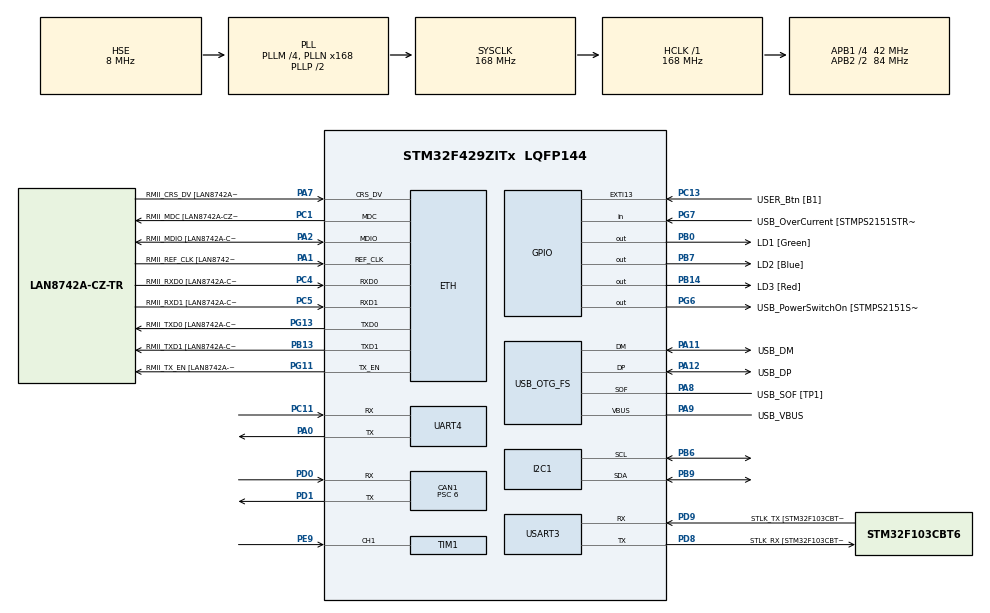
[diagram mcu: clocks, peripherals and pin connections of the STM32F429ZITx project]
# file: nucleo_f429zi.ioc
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CAN1.ABOM=ENABLE
CAN1.BS1=CAN_BS1_11TQ
CAN1.BS2=CAN_BS2_2TQ
CAN1.CalculateBaudRate=500000
CAN1.CalculateTimeBit=2000
CAN1.CalculateTimeQuantum=142.85714285714286
CAN1.NART=ENABLE
CAN1.Prescaler=6
CAN1.TXFP=ENABLE
Dma.I2C1_RX.0.Direction=DMA_PERIPH_TO_MEMORY
Dma.I2C1_RX.0.FIFOMode=DMA_FIFOMODE_DISABLE
Dma.I2C1_RX.0.Instance=DMA1_Stream0
Dma.I2C1_RX.0.MemDataAlignment=DMA_MDATAALIGN_BYTE
Dma.I2C1_RX.0.MemInc=DMA_MINC_ENABLE
Dma.I2C1_RX.0.Mode=DMA_CIRCULAR
Dma.I2C1_RX.0.PeriphDataAlignment=DMA_PDATAALIGN_BYTE
Dma.I2C1_RX.0.PeriphInc=DMA_PINC_DISABLE
Dma.I2C1_RX.0.Priority=DMA_PRIORITY_LOW
Dma.Request0=I2C1_RX
Dma.Request1=TIM1_CH2
Dma.TIM1_CH2.1.Direction=DMA_PERIPH_TO_MEMORY
Dma.TIM1_CH2.1.FIFOMode=DMA_FIFOMODE_DISABLE
Dma.TIM1_CH2.1.Instance=DMA2_Stream2
Dma.TIM1_CH2.1.MemDataAlignment=DMA_MDATAALIGN_HALFWORD
Dma.TIM1_CH2.1.MemInc=DMA_MINC_ENABLE
Dma.TIM1_CH2.1.Mode=DMA_CIRCULAR
Dma.TIM1_CH2.1.PeriphDataAlignment=DMA_PDATAALIGN_HALFWORD
Dma.TIM1_CH2.1.PeriphInc=DMA_PINC_DISABLE
Dma.TIM1_CH2.1.Priority=DMA_PRIORITY_LOW
ETH.MediaInterface=HAL_ETH_RMII_MODE
ETH.PHY_Name=LAN8742A_PHY_ADDRESS
ETH.PHY_Value=0
ETH.PhyAddress=0
I2C1.I2C_Mode=I2C_Fast
Mcu.Family=STM32F4
Mcu.Name=STM32F429ZITx
Mcu.Package=LQFP144
NVIC.CAN1_RX0_IRQn=true\:0\:0\:false\:false\:true\:true\:true\:true
NVIC.CAN1_SCE_IRQn=true\:0\:0\:false\:false\:true\:true\:true\:true
NVIC.DMA1_Stream0_IRQn=true\:0\:0\:false\:false\:true\:false\:true\:true
NVIC.DMA2_Stream2_IRQn=true\:0\:0\:false\:false\:true\:false\:true\:true
NVIC.I2C1_ER_IRQn=true\:0\:0\:false\:false\:true\:true\:true\:true
NVIC.I2C1_EV_IRQn=true\:0\:0\:false\:false\:true\:true\:true\:true
NVIC.PriorityGroup=NVIC_PRIORITYGROUP_4
NVIC.TIM1_CC_IRQn=true\:0\:0\:false\:false\:true\:true\:true\:true
NVIC.TIM1_TRG_COM_TIM11_IRQn=true\:0\:0\:false\:false\:true\:true\:true\:true
NVIC.TIM8_TRG_COM_TIM14_IRQn=true\:15\:0\:false\:false\:true\:false\:true\:true
NVIC.TimeBase=TIM8_TRG_COM_TIM14_IRQn
NVIC.TimeBaseIP=TIM14
PA0/WKUP.Mode=Asynchronous
PA0/WKUP.Signal=UART4_TX
PA1.GPIO_Label=RMII_REF_CLK [LAN8742A-CZ-TR_REFCLK0]
PA1.Mode=RMII
PA1.Signal=ETH_REF_CLK
PA10.GPIO_Label=USB_ID
PA10.Signal=USB_OTG_FS_ID
PA11.GPIO_Label=USB_DM
PA11.Mode=Device_Only
PA11.Signal=USB_OTG_FS_DM
PA12.GPIO_Label=USB_DP
PA12.Mode=Device_Only
PA12.Signal=USB_OTG_FS_DP
PA13.GPIO_Label=TMS
PA13.Mode=Serial_Wire
PA13.Signal=SYS_JTMS-SWDIO
PA14.GPIO_Label=TCK
PA14.Mode=Serial_Wire
PA14.Signal=SYS_JTCK-SWCLK
PA2.GPIO_Label=RMII_MDIO [LAN8742A-CZ-TR_MDIO]
PA2.Mode=RMII
PA2.Signal=ETH_MDIO
PA7.GPIO_Label=RMII_CRS_DV [LAN8742A-CZ-TR_CRS_DV]
PA7.Mode=RMII
PA7.Signal=ETH_CRS_DV
PA8.GPIO_Label=USB_SOF [TP1]
PA8.Mode=Activate_SOF_FS
PA8.Signal=USB_OTG_FS_SOF
PA9.GPIO_Label=USB_VBUS
PA9.Mode=Activate_VBUS
PA9.Signal=USB_OTG_FS_VBUS
PB0.GPIO_Label=LD1 [Green]
PB0.Signal=GPIO_Output
PB13.GPIO_Label=RMII_TXD1 [LAN8742A-CZ-TR_TXD1]
PB13.Mode=RMII
PB13.Signal=ETH_TXD1
PB14.GPIO_Label=LD3 [Red]
PB14.Signal=GPIO_Output
PB6.Mode=I2C
PB6.Signal=I2C1_SCL
PB7.GPIO_Label=LD2 [Blue]
PB7.Signal=GPIO_Output
PB9.Mode=I2C
PB9.Signal=I2C1_SDA
PC1.GPIO_Label=RMII_MDC [LAN8742A-CZ-TR_MDC]
PC1.Mode=RMII
PC1.Signal=ETH_MDC
PC11.Mode=Asynchronous
PC11.Signal=UART4_RX
PC13.GPIO_Label=USER_Btn [B1]
PC13.Signal=GPXTI13
PC14/OSC32_IN.Mode=LSE-External-Oscillator
PC14/OSC32_IN.Signal=RCC_OSC32_IN
PC15/OSC32_OUT.Mode=LSE-External-Oscillator
PC15/OSC32_OUT.Signal=RCC_OSC32_OUT
PC4.GPIO_Label=RMII_RXD0 [LAN8742A-CZ-TR_RXD0]
PC4.Mode=RMII
PC4.Signal=ETH_RXD0
PC5.GPIO_Label=RMII_RXD1 [LAN8742A-CZ-TR_RXD1]
PC5.Mode=RMII
PC5.Signal=ETH_RXD1
PD0.Mode=CAN_Activate
PD0.Signal=CAN1_RX
PD1.Mode=CAN_Activate
PD1.Signal=CAN1_TX
PD8.GPIO_Label=STLK_RX [STM32F103CBT6_PA3]
PD8.Mode=Asynchronous
PD8.Signal=USART3_TX
PD9.GPIO_Label=STLK_TX [STM32F103CBT6_PA2]
PD9.Mode=Asynchronous
PD9.Signal=USART3_RX
PE9.Signal=S_TIM1_CH1
PG11.GPIO_Label=RMII_TX_EN [LAN8742A-CZ-TR_TXEN]
PG11.Mode=RMII
PG11.Signal=ETH_TX_EN
PG13.GPIO_Label=RMII_TXD0 [LAN8742A-CZ-TR_TXD0]
PG13.Mode=RMII
PG13.Signal=ETH_TXD0
PG6.GPIO_Label=USB_PowerSwitchOn [STMPS2151STR_EN]
PG6.Signal=GPIO_Output
PG7.GPIO_Label=USB_OverCurrent [STMPS2151STR_FAULT]
PG7.Signal=GPIO_Input
PH0/OSC_IN.GPIO_Label=MCO [STM32F103CBT6_PA8]
PH0/OSC_IN.Mode=HSE-External-Clock-Source
PH0/OSC_IN.Signal=RCC_OSC_IN
PH1/OSC_OUT.Mode=HSE-External-Clock-Source
PH1/OSC_OUT.Signal=RCC_OSC_OUT
ProjectManager.HeapSize=0x200
ProjectManager.StackSize=0x400
ProjectManager.TargetToolchain=STM32CubeIDE
RCC.48MHZClocksFreq_Value=48000000
RCC.AHBFreq_Value=168000000
RCC.APB1CLKDivider=RCC_HCLK_DIV4
RCC.APB1Freq_Value=42000000
RCC.APB1TimFreq_Value=84000000
RCC.APB2CLKDivider=RCC_HCLK_DIV2
RCC.APB2Freq_Value=84000000
RCC.APB2TimCLKDivider=2
RCC.APB2TimFreq_Value=168000000
RCC.CortexFreq_Value=168000000
RCC.HCLKFreq_Value=168000000
RCC.HSE_VALUE=8000000
RCC.HSI_VALUE=16000000
RCC.PLLM=4
RCC.PLLMUL=RCC_PLL_MUL9
RCC.PLLN=168
RCC.PLLQ=7
RCC.PRESCALERUSB=RCC_USBCLKSOURCE_PLL_DIV1_5
RCC.SYSCLKFreq_VALUE=168000000
RCC.SYSCLKSource=RCC_SYSCLKSOURCE_PLLCLK
RCC.SYSCLKSourceVirtual=RCC_SYSCLKSOURCE_PLLCLK
RCC.USBFreq_Value=48000000
RCC.VCOOutputFreq_Value=336000000
SH.S_TIM1_CH1.0=TIM1_CH1,TriggerSource_TI1FP1
SH.S_TIM1_CH1.1=TIM1_CH1,Input_Capture1_from_TI1
TIM1.Channel-Input_Capture1_from_TI1=TIM_CHANNEL_1
TIM1.Channel-Input_Capture2_from_TI1_63=TIM_CHANNEL_2
TIM1.Prescaler=167
UART4.VirtualMode=Asynchronous
USART3.VirtualMode=VM_ASYNC
USB_OTG_FS.VirtualMode=Device_Only
VP_SYS_VS_tim14.Mode=TIM14
VP_TIM1_VS_ControllerModeReset.Mode=Reset Mode
VP_TIM1_VS_indirect_ch1.Mode=Input_Capture2_from_TI1_63
board=NUCLEO-F429ZI

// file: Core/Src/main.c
/* USER CODE BEGIN Header */
/**
  ******************************************************************************
  * @file           : main.c
  * @brief          : Main program body
  ******************************************************************************
  * @attention
  *
  * Copyright (c) 2024 STMicroelectronics.
  * All rights reserved.
  *
  * This software is licensed under terms that can be found in the LICENSE file
  * in the root directory of this software component.
  * If no LICENSE file comes with this software, it is provided AS-IS.
  *
  ******************************************************************************
  */
/* USER CODE END Header */
#include "main.h"
#include "string.h"

/* USER CODE BEGIN PD */
#define MPU6050_Address 0x68
#define PWR_MGMT_1_REG 0x6B
#define SMPLRT_DIV_REG 0x19
#define ACCEL_CONFIG_REG 0x1C
#define GYRO_CONFIG_REG 0x1B
#define INT_ENABLE_REG 0x38
#define time 500
#define ACCEL_XOUT_H_REG 0x3B
/* USER CODE END PD */

/* USER CODE BEGIN PM */
int16_t data[14];
uint32_t zntime;
char msg[10];
typedef struct
{

	int16_t AccelX;
	int16_t AccelY;
	int16_t AccelZ;
	double aX;
	double aY;
	double aZ;

	int16_t GyroX;
	int16_t GyroY;
	int16_t GyroZ;
	double gX;
	double gY;
	double gZ;

	int16_t temp;
	int Temperature;

} MPU6050znach;
/* USER CODE END PM */

ETH_TxPacketConfig TxConfig;
ETH_DMADescTypeDef  DMARxDscrTab[ETH_RX_DESC_CNT]; /* Ethernet Rx DMA Descriptors */
ETH_DMADescTypeDef  DMATxDscrTab[ETH_TX_DESC_CNT]; /* Ethernet Tx DMA Descriptors */

CAN_HandleTypeDef hcan1;

ETH_HandleTypeDef heth;

I2C_HandleTypeDef hi2c1;
DMA_HandleTypeDef hdma_i2c1_rx;

TIM_HandleTypeDef htim1;
DMA_HandleTypeDef hdma_tim1_ch2;

UART_HandleTypeDef huart4;
UART_HandleTypeDef huart3;

PCD_HandleTypeDef hpcd_USB_OTG_FS;

/* USER CODE BEGIN PV */
CAN_TxHeaderTypeDef TxHeader;
CAN_RxHeaderTypeDef RxHeader;
uint8_t TxData[8] = { 0, };
uint8_t RxData[8] = { 0, };
uint32_t TxMailbox = 0;
/* USER CODE END PV */

void SystemClock_Config(void);
static void MX_GPIO_Init(void);
static void MX_DMA_Init(void);
static void MX_ETH_Init(void);
static void MX_USART3_UART_Init(void);
static void MX_USB_OTG_FS_PCD_Init(void);
static void MX_I2C1_Init(void);
static void MX_TIM1_Init(void);
static void MX_UART4_Init(void);
static void MX_CAN1_Init(void);

/* USER CODE BEGIN 0 */
void HAL_CAN_RxFifo0MsgPendingCallback(CAN_HandleTypeDef *hcan)
{
	if (HAL_CAN_GetRxMessage(hcan, CAN_RX_FIFO0, &RxHeader, RxData) == HAL_OK)
	{
		HAL_GPIO_TogglePin(GPIOC, GPIO_PIN_13);
	}
}
void HAL_CAN_ErrorCallback(CAN_HandleTypeDef *hcan)
{
//	uint32_t er = HAL_CAN_GetError(hcan);
//	sprintf(trans_str, "ER CAN %lu %08lX", er, er);
//	HAL_UART_Transmit(&huart4, (uint8_t*)trans_str, strlen(trans_str), 100);
}
void InitMPU6050(void) {

	uint8_t data;
	data = 0;
	HAL_I2C_Mem_Write(&hi2c1, MPU6050_Address, PWR_MGMT_1_REG, 1, &data, 1, time);

	data = 0x07;
	HAL_I2C_Mem_Write(&hi2c1, MPU6050_Address, SMPLRT_DIV_REG, 1, &data, 1, time);

	data = 0x18;
	HAL_I2C_Mem_Write(&hi2c1, MPU6050_Address, ACCEL_CONFIG_REG, 1, &data, 1, time);

	data = 0x18;
	HAL_I2C_Mem_Write(&hi2c1, MPU6050_Address, GYRO_CONFIG_REG, 1, &data, 1, time);

	data = 0x1;
	HAL_I2C_Mem_Write(&hi2c1, MPU6050_Address, INT_ENABLE_REG, 1, &data, 1, time);

}

MPU6050znach z;

void MPU6050Read(void)
{
	///////////////////////////склейка/////////////////
	z.AccelX = (int16_t)(data[0] << 8 | data[1]);
	z.AccelY = (int16_t)(data[2] << 8 | data[3]);
	z.AccelZ = (int16_t)(data[4] << 8 | data[5]);
	z.temp = (int16_t)(data[6] << 8 | data[7]);
	z.GyroX = (int16_t)(data[8] << 8 | data[9]);
	z.GyroY = (int16_t)(data[10] << 8 | data[11]);
	z.GyroZ = (int16_t)(data[12] << 8 | data[13]);

	/////////////////////////////обработка////////////////////
	z.aX = z.AccelX / 2048.0;
	z.aY = z.AccelY / 2048.0;
	z.aZ = z.AccelZ / 2048.0;
	z.Temperature = (int)((int16_t)z.temp / (float)340.0 + (float)36.53);
	z.gX = z.GyroX / 131.0;
	z.gY = z.GyroY / 131.0;
	z.gZ = z.GyroZ / 131.0;

	/////////////////////////вычисление////////////////////
	int pitch;
	int pitch_sqrt = sqrt(z.aY * z.aY +  z.aZ * z.aZ);
	pitch = atan2(-z.aX, pitch_sqrt);

	/////////////////////////вывод/////////////////
	snprintf(msg, sizeof(msg), "%d", pitch);
	HAL_UART_Transmit(&huart4, (uint8_t*)msg, strlen(msg), HAL_MAX_DELAY);
	HAL_UART_Transmit(&huart4, (uint8_t*)"\r\n", strlen("\r\n"), HAL_MAX_DELAY);
	HAL_UART_Transmit(&huart4, (uint8_t*)"\r\n", strlen("\r\n"), HAL_MAX_DELAY);
}
/* USER CODE END 0 */

int main(void)
{

  /* MCU Configuration--------------------------------------------------------*/

  /* Reset of all peripherals, Initializes the Flash interface and the Systick. */
  HAL_Init();

  /* Configure the system clock */
  SystemClock_Config();

  /* Initialize all configured peripherals */
  MX_GPIO_Init();
  MX_DMA_Init();
  MX_ETH_Init();
  MX_USART3_UART_Init();
  MX_USB_OTG_FS_PCD_Init();
  MX_I2C1_Init();
  MX_TIM1_Init();
  MX_UART4_Init();
  MX_CAN1_Init();
  /* USER CODE BEGIN 2 */
	TxHeader.StdId = 0x0378;
	TxHeader.ExtId = 0;
	TxHeader.RTR = CAN_RTR_DATA; //CAN_RTR_REMOTE
	TxHeader.IDE = CAN_ID_STD; // CAN_ID_EXT
	TxHeader.DLC = 8;
	TxHeader.TransmitGlobalTime = 0;
	for (uint8_t i = 0; i < 8; i++)
	{
		TxData[i] = (i + 10);
	}
	HAL_CAN_Start(&hcan1);
	HAL_CAN_ActivateNotification(&hcan1, CAN_IT_RX_FIFO0_MSG_PENDING | CAN_IT_ERROR | CAN_IT_BUSOFF | CAN_IT_LAST_ERROR_CODE);
  //HAL_TIM_IC_Start_DMA(&htim1, TIM_CHANNEL_2, (uint32_t*)&zntime, 1); //включаем таймер
  //InitMPU6050();
  /* USER CODE END 2 */

  /* Infinite loop */
  while (1)
  {

  }
}

void SystemClock_Config(void)
{
  RCC_OscInitTypeDef RCC_OscInitStruct = {0};
  RCC_ClkInitTypeDef RCC_ClkInitStruct = {0};

  /** Configure the main internal regulator output voltage
  */
  __HAL_RCC_PWR_CLK_ENABLE();
  __HAL_PWR_VOLTAGESCALING_CONFIG(PWR_REGULATOR_VOLTAGE_SCALE1);

  /** Initializes the RCC Oscillators according to the specified parameters
  * in the RCC_OscInitTypeDef structure.
  */
  RCC_OscInitStruct.OscillatorType = RCC_OSCILLATORTYPE_HSE;
  RCC_OscInitStruct.HSEState = RCC_HSE_BYPASS;
  RCC_OscInitStruct.PLL.PLLState = RCC_PLL_ON;
  RCC_OscInitStruct.PLL.PLLSource = RCC_PLLSOURCE_HSE;
  RCC_OscInitStruct.PLL.PLLM = 4;
  RCC_OscInitStruct.PLL.PLLN = 168;
  RCC_OscInitStruct.PLL.PLLP = RCC_PLLP_DIV2;
  RCC_OscInitStruct.PLL.PLLQ = 7;
  if (HAL_RCC_OscConfig(&RCC_OscInitStruct) != HAL_OK)
  {
    Error_Handler();
  }

  /** Initializes the CPU, AHB and APB buses clocks
  */
  RCC_ClkInitStruct.ClockType = RCC_CLOCKTYPE_HCLK|RCC_CLOCKTYPE_SYSCLK
                              |RCC_CLOCKTYPE_PCLK1|RCC_CLOCKTYPE_PCLK2;
  RCC_ClkInitStruct.SYSCLKSource = RCC_SYSCLKSOURCE_PLLCLK;
  RCC_ClkInitStruct.AHBCLKDivider = RCC_SYSCLK_DIV1;
  RCC_ClkInitStruct.APB1CLKDivider = RCC_HCLK_DIV4;
  RCC_ClkInitStruct.APB2CLKDivider = RCC_HCLK_DIV2;

  if (HAL_RCC_ClockConfig(&RCC_ClkInitStruct, FLASH_LATENCY_5) != HAL_OK)
  {
    Error_Handler();
  }
}

static void MX_CAN1_Init(void)
{

  /* USER CODE BEGIN CAN1_Init 0 */
	CAN_FilterTypeDef  sFilterConfig;
  /* USER CODE END CAN1_Init 0 */

  hcan1.Instance = CAN1;
  hcan1.Init.Prescaler = 6;
  hcan1.Init.Mode = CAN_MODE_NORMAL;
  hcan1.Init.SyncJumpWidth = CAN_SJW_1TQ;
  hcan1.Init.TimeSeg1 = CAN_BS1_11TQ;
  hcan1.Init.TimeSeg2 = CAN_BS2_2TQ;
  hcan1.Init.TimeTriggeredMode = DISABLE;
  hcan1.Init.AutoBusOff = ENABLE;
  hcan1.Init.AutoWakeUp = DISABLE;
  hcan1.Init.AutoRetransmission = ENABLE;
  hcan1.Init.ReceiveFifoLocked = DISABLE;
  hcan1.Init.TransmitFifoPriority = ENABLE;
  if (HAL_CAN_Init(&hcan1) != HAL_OK)
  {
    Error_Handler();
  }

}

static void MX_ETH_Init(void)
{

   static uint8_t MACAddr[6];

  heth.Instance = ETH;
  MACAddr[0] = 0x00;
  MACAddr[1] = 0x80;
  MACAddr[2] = 0xE1;
  MACAddr[3] = 0x00;
  MACAddr[4] = 0x00;
  MACAddr[5] = 0x00;
  heth.Init.MACAddr = &MACAddr[0];
  heth.Init.MediaInterface = HAL_ETH_RMII_MODE;
  heth.Init.TxDesc = DMATxDscrTab;
  heth.Init.RxDesc = DMARxDscrTab;
  heth.Init.RxBuffLen = 1524;

  if (HAL_ETH_Init(&heth) != HAL_OK)
  {
    Error_Handler();
  }

  memset(&TxConfig, 0 , sizeof(ETH_TxPacketConfig));
  TxConfig.Attributes = ETH_TX_PACKETS_FEATURES_CSUM | ETH_TX_PACKETS_FEATURES_CRCPAD;
  TxConfig.ChecksumCtrl = ETH_CHECKSUM_IPHDR_PAYLOAD_INSERT_PHDR_CALC;
  TxConfig.CRCPadCtrl = ETH_CRC_PAD_INSERT;

}

static void MX_I2C1_Init(void)
{

  hi2c1.Instance = I2C1;
  hi2c1.Init.ClockSpeed = 400000;
  hi2c1.Init.DutyCycle = I2C_DUTYCYCLE_2;
  hi2c1.Init.OwnAddress1 = 0;
  hi2c1.Init.AddressingMode = I2C_ADDRESSINGMODE_7BIT;
  hi2c1.Init.DualAddressMode = I2C_DUALADDRESS_DISABLE;
  hi2c1.Init.OwnAddress2 = 0;
  hi2c1.Init.GeneralCallMode = I2C_GENERALCALL_DISABLE;
  hi2c1.Init.NoStretchMode = I2C_NOSTRETCH_DISABLE;
  if (HAL_I2C_Init(&hi2c1) != HAL_OK)
  {
    Error_Handler();
  }

  /** Configure Analogue filter
  */
  if (HAL_I2CEx_ConfigAnalogFilter(&hi2c1, I2C_ANALOGFILTER_ENABLE) != HAL_OK)
  {
    Error_Handler();
  }

  /** Configure Digital filter
  */
  if (HAL_I2CEx_ConfigDigitalFilter(&hi2c1, 0) != HAL_OK)
  {
    Error_Handler();
  }

}

static void MX_TIM1_Init(void)
{

  TIM_SlaveConfigTypeDef sSlaveConfig = {0};
  TIM_MasterConfigTypeDef sMasterConfig = {0};
  TIM_IC_InitTypeDef sConfigIC = {0};

  htim1.Instance = TIM1;
  htim1.Init.Prescaler = 167;
  htim1.Init.CounterMode = TIM_COUNTERMODE_UP;
  htim1.Init.Period = 65535;
  htim1.Init.ClockDivision = TIM_CLOCKDIVISION_DIV1;
  htim1.Init.RepetitionCounter = 0;
  htim1.Init.AutoReloadPreload = TIM_AUTORELOAD_PRELOAD_DISABLE;
  if (HAL_TIM_Base_Init(&htim1) != HAL_OK)
  {
    Error_Handler();
  }
  if (HAL_TIM_IC_Init(&htim1) != HAL_OK)
  {
    Error_Handler();
  }
  sSlaveConfig.SlaveMode = TIM_SLAVEMODE_RESET;
  sSlaveConfig.InputTrigger = TIM_TS_TI1FP1;
  sSlaveConfig.TriggerPolarity = TIM_INPUTCHANNELPOLARITY_RISING;
  sSlaveConfig.TriggerFilter = 0;
  if (HAL_TIM_SlaveConfigSynchro(&htim1, &sSlaveConfig) != HAL_OK)
  {
    Error_Handler();
  }
  sMasterConfig.MasterOutputTrigger = TIM_TRGO_RESET;
  sMasterConfig.MasterSlaveMode = TIM_MASTERSLAVEMODE_DISABLE;
  if (HAL_TIMEx_MasterConfigSynchronization(&htim1, &sMasterConfig) != HAL_OK)
  {
    Error_Handler();
  }
  sConfigIC.ICPolarity = TIM_INPUTCHANNELPOLARITY_RISING;
  sConfigIC.ICSelection = TIM_ICSELECTION_DIRECTTI;
  sConfigIC.ICPrescaler = TIM_ICPSC_DIV1;
  sConfigIC.ICFilter = 0;
  if (HAL_TIM_IC_ConfigChannel(&htim1, &sConfigIC, TIM_CHANNEL_1) != HAL_OK)
  {
    Error_Handler();
  }
  sConfigIC.ICSelection = TIM_ICSELECTION_INDIRECTTI;
  if (HAL_TIM_IC_ConfigChannel(&htim1, &sConfigIC, TIM_CHANNEL_2) != HAL_OK)
  {
    Error_Handler();
  }

}

static void MX_UART4_Init(void)
{

  huart4.Instance = UART4;
  huart4.Init.BaudRate = 115200;
  huart4.Init.WordLength = UART_WORDLENGTH_8B;
  huart4.Init.StopBits = UART_STOPBITS_1;
  huart4.Init.Parity = UART_PARITY_NONE;
  huart4.Init.Mode = UART_MODE_TX_RX;
  huart4.Init.HwFlowCtl = UART_HWCONTROL_NONE;
  huart4.Init.OverSampling = UART_OVERSAMPLING_16;
  if (HAL_UART_Init(&huart4) != HAL_OK)
  {
    Error_Handler();
  }

}

static void MX_USART3_UART_Init(void)
{

  huart3.Instance = USART3;
  huart3.Init.BaudRate = 115200;
  huart3.Init.WordLength = UART_WORDLENGTH_8B;
  huart3.Init.StopBits = UART_STOPBITS_1;
  huart3.Init.Parity = UART_PARITY_NONE;
  huart3.Init.Mode = UART_MODE_TX_RX;
  huart3.Init.HwFlowCtl = UART_HWCONTROL_NONE;
  huart3.Init.OverSampling = UART_OVERSAMPLING_16;
  if (HAL_UART_Init(&huart3) != HAL_OK)
  {
    Error_Handler();
  }

}

static void MX_USB_OTG_FS_PCD_Init(void)
{

  hpcd_USB_OTG_FS.Instance = USB_OTG_FS;
  hpcd_USB_OTG_FS.Init.dev_endpoints = 4;
  hpcd_USB_OTG_FS.Init.speed = PCD_SPEED_FULL;
  hpcd_USB_OTG_FS.Init.dma_enable = DISABLE;
  hpcd_USB_OTG_FS.Init.phy_itface = PCD_PHY_EMBEDDED;
  hpcd_USB_OTG_FS.Init.Sof_enable = ENABLE;
  hpcd_USB_OTG_FS.Init.low_power_enable = DISABLE;
  hpcd_USB_OTG_FS.Init.lpm_enable = DISABLE;
  hpcd_USB_OTG_FS.Init.vbus_sensing_enable = ENABLE;
  hpcd_USB_OTG_FS.Init.use_dedicated_ep1 = DISABLE;
  if (HAL_PCD_Init(&hpcd_USB_OTG_FS) != HAL_OK)
  {
    Error_Handler();
  }

}

static void MX_DMA_Init(void)
{

  /* DMA controller clock enable */
  __HAL_RCC_DMA1_CLK_ENABLE();
  __HAL_RCC_DMA2_CLK_ENABLE();

  /* DMA interrupt init */
  /* DMA1_Stream0_IRQn interrupt configuration */
  HAL_NVIC_SetPriority(DMA1_Stream0_IRQn, 0, 0);
  HAL_NVIC_EnableIRQ(DMA1_Stream0_IRQn);
  /* DMA2_Stream2_IRQn interrupt configuration */
  HAL_NVIC_SetPriority(DMA2_Stream2_IRQn, 0, 0);
  HAL_NVIC_EnableIRQ(DMA2_Stream2_IRQn);

}

static void MX_GPIO_Init(void)
{
  GPIO_InitTypeDef GPIO_InitStruct = {0};

  /* GPIO Ports Clock Enable */
  __HAL_RCC_GPIOC_CLK_ENABLE();
  __HAL_RCC_GPIOH_CLK_ENABLE();
  __HAL_RCC_GPIOA_CLK_ENABLE();
  __HAL_RCC_GPIOB_CLK_ENABLE();
  __HAL_RCC_GPIOE_CLK_ENABLE();
  __HAL_RCC_GPIOD_CLK_ENABLE();
  __HAL_RCC_GPIOG_CLK_ENABLE();

  /*Configure GPIO pin Output Level */
  HAL_GPIO_WritePin(GPIOB, LD1_Pin|LD3_Pin|LD2_Pin, GPIO_PIN_RESET);

  /*Configure GPIO pin Output Level */
  HAL_GPIO_WritePin(USB_PowerSwitchOn_GPIO_Port, USB_PowerSwitchOn_Pin, GPIO_PIN_RESET);

  /*Configure GPIO pin : USER_Btn_Pin */
  GPIO_InitStruct.Pin = USER_Btn_Pin;
  GPIO_InitStruct.Mode = GPIO_MODE_IT_RISING;
  GPIO_InitStruct.Pull = GPIO_NOPULL;
  HAL_GPIO_Init(USER_Btn_GPIO_Port, &GPIO_InitStruct);

  /*Configure GPIO pins : LD1_Pin LD3_Pin LD2_Pin */
  GPIO_InitStruct.Pin = LD1_Pin|LD3_Pin|LD2_Pin;
  GPIO_InitStruct.Mode = GPIO_MODE_OUTPUT_PP;
  GPIO_InitStruct.Pull = GPIO_NOPULL;
  GPIO_InitStruct.Speed = GPIO_SPEED_FREQ_LOW;
  HAL_GPIO_Init(GPIOB, &GPIO_InitStruct);

  /*Configure GPIO pin : USB_PowerSwitchOn_Pin */
  GPIO_InitStruct.Pin = USB_PowerSwitchOn_Pin;
  GPIO_InitStruct.Mode = GPIO_MODE_OUTPUT_PP;
  GPIO_InitStruct.Pull = GPIO_NOPULL;
  GPIO_InitStruct.Speed = GPIO_SPEED_FREQ_LOW;
  HAL_GPIO_Init(USB_PowerSwitchOn_GPIO_Port, &GPIO_InitStruct);

  /*Configure GPIO pin : USB_OverCurrent_Pin */
  GPIO_InitStruct.Pin = USB_OverCurrent_Pin;
  GPIO_InitStruct.Mode = GPIO_MODE_INPUT;
  GPIO_InitStruct.Pull = GPIO_NOPULL;
  HAL_GPIO_Init(USB_OverCurrent_GPIO_Port, &GPIO_InitStruct);

}

/* USER CODE BEGIN 4 */
void HAL_TIM_IC_CaptureCallback(TIM_HandleTypeDef *htim)
{
	if (htim->Instance == TIM1)
	{
		HAL_I2C_Mem_Read_DMA(&hi2c1, MPU6050_Address, ACCEL_XOUT_H_REG, 1, data, 14);
	}
}

void HAL_I2C_MemRxCpltCallback(I2C_HandleTypeDef *hi2c)
{
	MPU6050Read();
}
/* USER CODE END 4 */

void HAL_TIM_PeriodElapsedCallback(TIM_HandleTypeDef *htim)
{
  if (htim->Instance == TIM14) {
    HAL_IncTick();
  }
}

void Error_Handler(void)
{
  __disable_irq();
  while (1)
  {
  }
}
